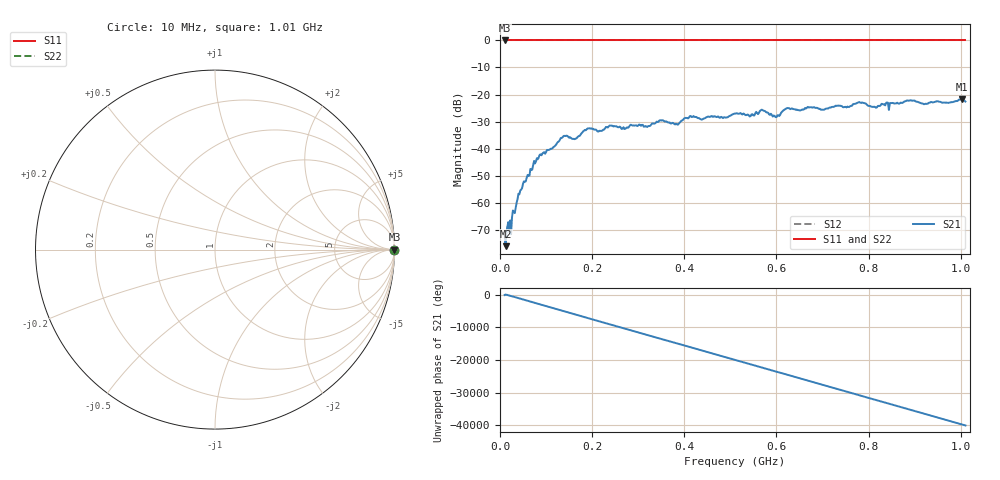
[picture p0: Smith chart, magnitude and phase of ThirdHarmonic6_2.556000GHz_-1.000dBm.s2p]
! 8/17/2025 5:15:33 AM
! C:\ANRITSUVNA\TEMP\TEMP.S2P
! CHANNEL.1
! TR.MEASUREMENT
! RAW.DATA
! RF.CORRECTION.OFF
! AVERAGING.OFF
! IF.BANDWIDTH: 5KHZ
! SWEEPTYPE:  FREQ.SWEEP(Linear)
! Reference Plane Port Info
! PORT:  PORT1  PORT2
! DISTANCE:  0  m  0  m
! TIME:  0  s  0  s
! PHASE.OFFSET:  0  deg.  0  deg.
! LOSS:  0  dB  0  dB
! REF.LOSS:  0  dB  0  dB
! REF.FREQ:  0  Hz  0  Hz
! Power Info
! POWER:  -20  dBm  -20  dBm
! EFF.POWER:  -20  dBm  -20  dBm
! SOURCE.ATTEN:  0  dB  0  dB
! TEST.ATTEN:  0  dB  0  dB
# GHZ S RI R 50.0
! FREQ.GHZ  S11RE  S11IM  S21RE  S21IM  S12RE  S12IM  S22RE  S22IM
!; PortSelection: Port_12
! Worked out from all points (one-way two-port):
!   501 points, 10 MHz to 1.01 GHz, reference 50 ohm
!   highest |S21| = -21.75 dB at 1.002 GHz (marker M1); lowest = -76.1 dB at 12 MHz (marker M2)
!   lowest |S11| = 0.0 dB at 10 MHz (marker M3)
!   |S11| at or under -10 dB: nowhere
!   |S22| runs from 0.0 to 0.0 dB; largest |S21 - S12| = 1.1
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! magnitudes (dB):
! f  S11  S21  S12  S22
! 10 MHz  0.0  -71.3  0.0  0.0
! 12 MHz  0.0  -76.1  0.0  0.0
! 24 MHz  0.0  -71.7  0.0  0.0
! 48 MHz  0.0  -54.6  0.0  0.0
! 84 MHz  0.0  -43.3  0.0  0.0
! 136 MHz  0.0  -35.8  0.0  0.0
! 162 MHz  0.0  -36.5  0.0  0.0
! 178 MHz  0.0  -34.2  0.0  0.0
! 240 MHz  0.0  -31.5  0.0  0.0
! 322 MHz  0.0  -31.6  0.0  0.0
! 344 MHz  0.0  -30.1  0.0  0.0
! 384 MHz  0.0  -31.1  0.0  0.0
! 416 MHz  0.0  -28.3  0.0  0.0
! 510 MHz  0.0  -27.1  0.0  0.0
! 546 MHz  0.0  -27.3  0.0  0.0
! 570 MHz  0.0  -25.8  0.0  0.0
! 596 MHz  0.0  -27.9  0.0  0.0
! 624 MHz  0.0  -25.0  0.0  0.0
! 678 MHz  0.0  -24.8  0.0  0.0
! 844 MHz  0.0  -25.7  0.0  0.0
! 1.002 GHz  0.0  -21.8  0.0  0.0
! 1.01 GHz  0.0  -22.6  0.0  0.0
